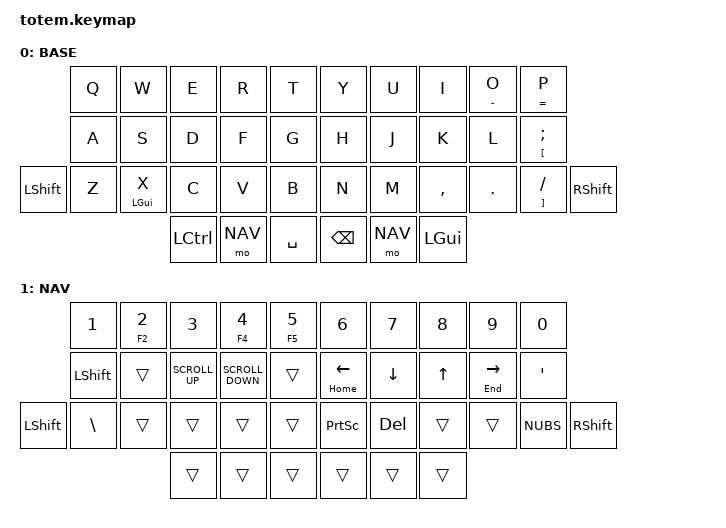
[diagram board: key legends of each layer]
//
//                                                        ▀▀▀▀▀     ▀▀▀▀▀          ▀▀█▀▀
//                                                        ▄▀▀▀▄  ▄  ▄▀▀▀▄  ▄  ▄▀▀▀▄  █  ▄▀▀▀▄
//                                                        █   █  █  █   █  █  █   █  █  █   █
//                                                         ▀▀▀   █   ▀▀▀   █   ▀▀▀   ▀   ▀▀▀
//                                                               █      ▄▄▄█▄▄▄    █   █  
//                                                               ▀      █  █  █     █▄█
//                                                             ▀▀▀▀▀    █  █  █      ▀
//                                                                      ▀  ▀  ▀
//
// ▄▄▄▄▄▄▄▄▄▄▄▄▄▄▄▄▄▄▄▄▄▄▄▄▄▄▄▄▄▄▄▄▄▄▄▄▄▄▄▄▄▄▄▄▄▄▄▄▄▄▄▄▄▄▄▄▄▄▄▄▄▄▄▄▄▄▄▄▄▄▄▄▄▄▄▄▄▄▄▄▄▄▄▄▄▄▄▄▄▄▄▄▄▄▄▄▄▄▄▄▄▄▄▄▄▄▄▄▄▄▄▄▄▄▄▄▄▄▄▄▄▄▄▄▄▄▄▄▄▄▄▄▄▄▄▄▄▄▄▄▄▄▄▄▄▄▄▄▄
       

#include <behaviors.dtsi>
#include <dt-bindings/zmk/keys.h>
#include <dt-bindings/zmk/bt.h>
#include <dt-bindings/zmk/outputs.h>

#define BASE 0
#define NAV  1

&mt {
  quick-tap-ms = <100>;
  global-quick-tap;
  flavor = "tap-preferred";
  tapping-term-ms = <170>;
};


//             ┏━━━━━━━━━━━┳━━━━━━━━━━━┳━━━━━━━━━━━┳━━━━━━━━━━━┳━━━━━━━━━━━┓   ┏━━━━━━━━━━━┳━━━━━━━━━━━┳━━━━━━━━━━━┳━━━━━━━━━━━┳━━━━━━━━━━━┓
//             ┃     0     ┃     1     ┃     2     ┃     3     ┃     4     ┃   ┃     5     ┃     6     ┃     7     ┃     8     ┃     9     ┃
//             ┣━━━━━━━━━━━╋━━━━━━━━━━━╋━━━━━━━━━━━╋━━━━━━━━━━━╋━━━━━━━━━━━┫   ┣━━━━━━━━━━━╋━━━━━━━━━━━╋━━━━━━━━━━━╋━━━━━━━━━━━╋━━━━━━━━━━━┫
//             ┃     10    ┃     11    ┃     12    ┃     13    ┃     14    ┃   ┃     15    ┃     16    ┃     17    ┃     18    ┃     19    ┃
// ┏━━━━━━━━━━━╋━━━━━━━━━━━╋━━━━━━━━━━━╋━━━━━━━━━━━╋━━━━━━━━━━━╋━━━━━━━━━━━┫   ┣━━━━━━━━━━━╋━━━━━━━━━━━╋━━━━━━━━━━━╋━━━━━━━━━━━╋━━━━━━━━━━━╋━━━━━━━━━━━┓
// ┃     20    ┃     21    ┃     22    ┃     23    ┃     24    ┃     25    ┃   ┃     26    ┃     27    ┃     28    ┃     29    ┃     30    ┃     31    ┃
// ┗━━━━━━━━━━━┻━━━━━━━━━━━┻━━━━━━━━━━━╋━━━━━━━━━━━╋━━━━━━━━━━━╋━━━━━━━━━━━┫   ┣━━━━━━━━━━━╋━━━━━━━━━━━╋━━━━━━━━━━━╋━━━━━━━━━━━┻━━━━━━━━━━━┻━━━━━━━━━━━┛
//                                     ┃     32    ┃     33    ┃     34    ┃   ┃     35    ┃     36    ┃     37    ┃
//                                     ┗━━━━━━━━━━━┻━━━━━━━━━━━┻━━━━━━━━━━━┛   ┗━━━━━━━━━━━┻━━━━━━━━━━━┻━━━━━━━━━━━┛


/ {
     combos {
            compatible = "zmk,combos";
            combo_esc {
                timeout-ms = <50>;
		layers = <0>;
                key-positions = <11 12 13>;
                bindings = <&kp ESC>;
            };
            combo_enter {
                timeout-ms = <50>;
		layers = <0>;
                key-positions = <16 17 18>;
                bindings = <&kp ENTER>;
            };
            combo_ralt {
                timeout-ms = <50>;
		layers = <0>;
                key-positions = <2 3>;
                bindings = <&kp RALT>;
            };
            combo_lalt {
                timeout-ms = <50>;
		layers = <0>;
                key-positions = <6 7>;
                bindings = <&kp LALT>;
            };
            combo_tab {
                timeout-ms = <50>;
		layers = <0>;
                key-positions = <0 1>;
                bindings = <&kp TAB>;
            };

	    combo_tg_ble {
                timeout-ms = <50>;
		layers = <0>;
                key-positions = <10 14>;
                bindings = <&bt BT_CLR_ALL>;
            };
    };

        keymap {
                compatible = "zmk,keymap";
// ▄▄▄▄▄▄▄▄▄▄▄▄▄▄▄▄▄▄▄▄▄▄▄▄▄▄▄▄▄▄▄▄▄▄▄▄▄▄▄▄▄▄▄▄▄▄▄▄▄▄▄▄▄▄▄▄▄▄▄▄▄▄▄▄▄▄▄▄▄▄▄▄▄▄▄▄▄▄▄▄▄▄▄▄▄▄▄▄▄▄▄▄▄▄▄▄▄▄▄▄▄▄▄▄▄▄▄▄▄▄▄▄▄▄▄▄▄▄▄▄▄▄▄▄▄▄▄▄▄▄▄▄▄▄▄▄▄▄▄▄▄▄▄▄▄▄▄▄▄

                base_layer {
// ┏━━━━━━━━━━━━━━━━━━━━━━━━━━━━━━━━━━━━━━━┓
label= "BASE"                              ;
// ┗━━━━━━━━━━━━━━━━━━━━━━━━━━━━━━━━━━━━━━━┛
//             ┏━━━━━━━━━━━┳━━━━━━━━━━━┳━━━━━━━━━━━┳━━━━━━━━━━━┳━━━━━━━━━━━┓   ┏━━━━━━━━━━━┳━━━━━━━━━━━┳━━━━━━━━━━━┳━━━━━━━━━━━┳━━━━━━━━━━━┓
//             ┃     Q     ┃     W     ┃     F     ┃     P     ┃     G     ┃   ┃     J     ┃     L     ┃     U     ┃     Y     ┃     ;     ┃
//             ┣━━━━━━━━━━━╋━━━━━━━━━━━╋━━━━━━━━━━━╋━━━━━━━━━━━╋━━━━━━━━━━━┫   ┣━━━━━━━━━━━╋━━━━━━━━━━━╋━━━━━━━━━━━╋━━━━━━━━━━━╋━━━━━━━━━━━┫
//             ┃     A     ┃     R     ┃     S     ┃     T     ┃     D     ┃   ┃     H     ┃     N     ┃     E     ┃     I     ┃     O     ┃
// ┏━━━━━━━━━━━╋━━━━━━━━━━━╋━━━━━━━━━━━╋━━━━━━━━━━━╋━━━━━━━━━━━╋━━━━━━━━━━━┫   ┣━━━━━━━━━━━╋━━━━━━━━━━━╋━━━━━━━━━━━╋━━━━━━━━━━━╋━━━━━━━━━━━╋━━━━━━━━━━━┓
// ┃     Q     ┃     Z     ┃     X     ┃     C     ┃     V     ┃     B     ┃   ┃     K     ┃     M     ┃     ,     ┃     .     ┃     /     ┃     \     ┃
// ┗━━━━━━━━━━━┻━━━━━━━━━━━┻━━━━━━━━━━━╋━━━━━━━━━━━╋━━━━━━━━━━━╋━━━━━━━━━━━┫   ┣━━━━━━━━━━━╋━━━━━━━━━━━╋━━━━━━━━━━━╋━━━━━━━━━━━┻━━━━━━━━━━━┻━━━━━━━━━━━┛
//                                     ┃    DEL    ┃    TAB    ┃    SPC    ┃   ┃   ENTER   ┃           ┃   BSPC    ┃
//                                     ┗━━━━━━━━━━━┻━━━━━━━━━━━┻━━━━━━━━━━━┛   ┗━━━━━━━━━━━┻━━━━━━━━━━━┻━━━━━━━━━━━┛
 bindings = <
// ╷           ╷           ╷           ╷           ╷           ╷           ╷   ╷           ╷           ╷           ╷           ╷           ╷           ╷

                &kp Q       &kp W       &kp E       &kp R       &kp T           &kp Y       &kp U       &kp I       &mt MINUS O &mt EQUAL P
                &kp A       &kp S       &kp D       &kp F       &kp G           &kp H       &kp J       &kp K       &kp L       &mt LBKT SEMI
    &kp LSHFT   &kp Z       &mt LGUI X  &kp C       &kp V       &kp B           &kp N       &kp M       &kp COMMA   &kp DOT     &mt RBKT FSLH &kp RSHFT
                                        &kp LCTRL   &mo NAV    &kp SPACE       &kp BSPC    &mo NAV  	&kp LGUI
                        >;
                };

// ▄▄▄▄▄▄▄▄▄▄▄▄▄▄▄▄▄▄▄▄▄▄▄▄▄▄▄▄▄▄▄▄▄▄▄▄▄▄▄▄▄▄▄▄▄▄▄▄▄▄▄▄▄▄▄▄▄▄▄▄▄▄▄▄▄▄▄▄▄▄▄▄▄▄▄▄▄▄▄▄▄▄▄▄▄▄▄▄▄▄▄▄▄▄▄▄▄▄▄▄▄▄▄▄▄▄▄▄▄▄▄▄▄▄▄▄▄▄▄▄▄▄▄▄▄▄▄▄▄▄▄▄▄▄▄▄▄▄▄▄▄▄▄▄▄▄▄▄▄


                nav_layer {
// ┏━━━━━━━━━━━━━━━━━━━━━━━━━━━━━━━━━━━━━━━┓
label= "NAV"                              ;
// ┗━━━━━━━━━━━━━━━━━━━━━━━━━━━━━━━━━━━━━━━┛
//             ┏━━━━━━━━━━━┳━━━━━━━━━━━┳━━━━━━━━━━━┳━━━━━━━━━━━┳━━━━━━━━━━━┓   ┏━━━━━━━━━━━┳━━━━━━━━━━━┳━━━━━━━━━━━┳━━━━━━━━━━━┳━━━━━━━━━━━┓
//             ┃           ┃           ┃     UP    ┃           ┃     {     ┃   ┃     }     ┃     7     ┃     8     ┃     9     ┃     +     ┃
//             ┣━━━━━━━━━━━╋━━━━━━━━━━━╋━━━━━━━━━━━╋━━━━━━━━━━━╋━━━━━━━━━━━┫   ┣━━━━━━━━━━━╋━━━━━━━━━━━╋━━━━━━━━━━━╋━━━━━━━━━━━╋━━━━━━━━━━━┫
//             ┃   SHIFT   ┃   LEFT    ┃    DOWN   ┃   RIGHT   ┃     [     ┃   ┃     ]     ┃     4     ┃     5     ┃     6     ┃     -     ┃
// ┏━━━━━━━━━━━╋━━━━━━━━━━━╋━━━━━━━━━━━╋━━━━━━━━━━━╋━━━━━━━━━━━╋━━━━━━━━━━━┫   ┣━━━━━━━━━━━╋━━━━━━━━━━━╋━━━━━━━━━━━╋━━━━━━━━━━━╋━━━━━━━━━━━╋━━━━━━━━━━━┓
// ┃           ┃           ┃   P UP    ┃  C LOCK   ┃  P DOWN   ┃     (     ┃   ┃     )     ┃     1     ┃     2     ┃     3     ┃     *     ┃           ┃
// ┗━━━━━━━━━━━┻━━━━━━━━━━━┻━━━━━━━━━━━╋━━━━━━━━━━━╋━━━━━━━━━━━╋━━━━━━━━━━━┫   ┣━━━━━━━━━━━╋━━━━━━━━━━━╋━━━━━━━━━━━╋━━━━━━━━━━━┻━━━━━━━━━━━┻━━━━━━━━━━━┛
//                                     ┃           ┃    TAB    ┃    SPC    ┃   ┃    DEL    ┃     0     ┃           ┃
//                                     ┗━━━━━━━━━━━┻━━━━━━━━━━━┻━━━━━━━━━━━┛   ┗━━━━━━━━━━━┻━━━━━━━━━━━┻━━━━━━━━━━━┛
 bindings = <
// ╷           ╷           ╷           ╷           ╷           ╷           ╷   ╷           ╷           ╷           ╷           ╷           ╷           ╷

                &kp N1   &mt F2 N2 &kp N3  &mt F4 N4 &mt F5 N5                  &kp N6         &kp N7      &kp N8      &kp N9      &kp N0
                &kp LSHFT   &trans &kp K_SCROLL_UP &kp K_SCROLL_DOWN  &trans     &mt HOME LEFT  &kp DOWN    &kp UP   &mt END RIGHT  &kp SQT
    &kp LSHFT      &kp BSLH    &trans      &trans      &trans      &trans       &kp PSCRN      &kp DEL     &trans      &trans      &kp NUBS   &kp RSHFT      
                                        &trans   &trans       &trans            &trans     &trans    &trans      
                        >;
                };

// ▄▄▄▄▄▄▄▄▄▄▄▄▄▄▄▄▄▄▄▄▄▄▄▄▄▄▄▄▄▄▄▄▄▄▄▄▄▄▄▄▄▄▄▄▄▄▄▄▄▄▄▄▄▄▄▄▄▄▄▄▄▄▄▄▄▄▄▄▄▄▄▄▄▄▄▄▄▄▄▄▄▄▄▄▄▄▄▄▄▄▄▄▄▄▄▄▄▄▄▄▄▄▄▄▄▄▄▄▄▄▄▄▄▄▄▄▄▄▄▄▄▄▄▄▄▄▄▄▄▄▄▄▄▄▄▄▄▄▄▄▄▄▄▄▄▄▄▄▄


// ▄▄▄▄▄▄▄▄▄▄▄▄▄▄▄▄▄▄▄▄▄▄▄▄▄▄▄▄▄▄▄▄▄▄▄▄▄▄▄▄▄▄▄▄▄▄▄▄▄▄▄▄▄▄▄▄▄▄▄▄▄▄▄▄▄▄▄▄▄▄▄▄▄▄▄▄▄▄▄▄▄▄▄▄▄▄▄▄▄▄▄▄▄▄▄▄▄▄▄▄▄▄▄▄▄▄▄▄▄▄▄▄▄▄▄▄▄▄▄▄▄▄▄▄▄▄▄▄▄▄▄▄▄▄▄▄▄▄▄▄▄▄▄▄▄▄▄▄▄




// ▄▄▄▄▄▄▄▄▄▄▄▄▄▄▄▄▄▄▄▄▄▄▄▄▄▄▄▄▄▄▄▄▄▄▄▄▄▄▄▄▄▄▄▄▄▄▄▄▄▄▄▄▄▄▄▄▄▄▄▄▄▄▄▄▄▄▄▄▄▄▄▄▄▄▄▄▄▄▄▄▄▄▄▄▄▄▄▄▄▄▄▄▄▄▄▄▄▄▄▄▄▄▄▄▄▄▄▄▄▄▄▄▄▄▄▄▄▄▄▄▄▄▄▄▄▄▄▄▄▄▄▄▄▄▄▄▄▄▄▄▄▄▄▄▄▄▄▄▄




// ▄▄▄▄▄▄▄▄▄▄▄▄▄▄▄▄▄▄▄▄▄▄▄▄▄▄▄▄▄▄▄▄▄▄▄▄▄▄▄▄▄▄▄▄▄▄▄▄▄▄▄▄▄▄▄▄▄▄▄▄▄▄▄▄▄▄▄▄▄▄▄▄▄▄▄▄▄▄▄▄▄▄▄▄▄▄▄▄▄▄▄▄▄▄▄▄▄▄▄▄▄▄▄▄▄▄▄▄▄▄▄▄▄▄▄▄▄▄▄▄▄▄▄▄▄▄▄▄▄▄▄▄▄▄▄▄▄▄▄▄▄▄▄▄▄▄▄▄▄



        };
};
